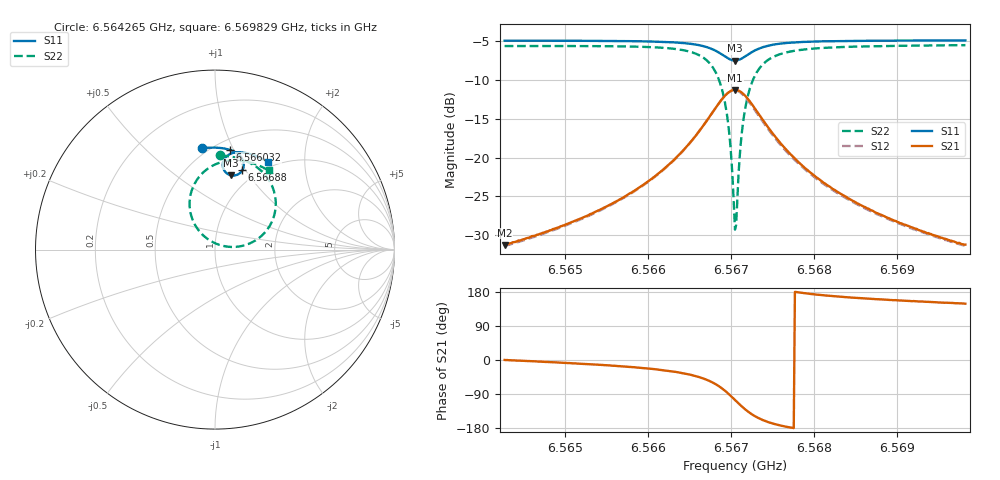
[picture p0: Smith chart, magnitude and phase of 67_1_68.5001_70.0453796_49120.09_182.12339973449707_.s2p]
#  HZ  S  RI  R  50.00
! Rohde & Schwarz Vector Network Analyzer
! Rohde-Schwarz,ZNB20-2Port,1311601062101988,3.16
! Created: UTC 3/20/2024, 5:06:44 PM
! freq[Hz]  re:S11  im:S11  re:S21  im:S21  re:S12  im:S12  re:S22  im:S22
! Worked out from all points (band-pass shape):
!   401 points, 6.564265 GHz to 6.569829 GHz, reference 50 ohm
!   highest |S21| = -11.24 dB at 6.567047 GHz (marker M1); lowest = -31.3 dB at 6.564265 GHz (marker M2)
!   |S21| within 3 dB of the highest: 6.56677 GHz to 6.567326 GHz (556.1 kHz wide, 0.00847 % of centre)
!   lowest |S11| = -7.5 dB at 6.567047 GHz (marker M3), VSWR 2.47, Z = 41 + j41.4 ohm
!   |S11| at or under -10 dB: nowhere
!   |S22| runs from -29.3 to -5.5 dB; largest |S21 - S12| = 0.013
!   S11 on the Smith chart (normalised r, x): 6.564265 GHz: 0.46, +0.77; 6.566032 GHz: 0.59, +0.97; 6.56688 GHz: 0.86, +0.97; 6.569829 GHz: 0.92, +1.33
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6.5642654e9  -0.0698 0.5647  0.0273 1.89e-06  0.0268 -0.00041  0.0295 0.5244
6.5651973e9  0.00603 0.5678  0.0402 -0.00721  0.0395 -0.00765  0.1167 0.5122
6.5660318e9  0.0829 0.5558  0.0667 -0.0285  0.0656 -0.0293  0.2219 0.467
6.5661292e9  0.0931 0.5523  0.0718 -0.0343  0.0706 -0.0351  0.2379 0.4555
6.5664351e9  0.1277 0.5335  0.0925 -0.0658  0.0909 -0.067  0.2965 0.3933
6.5666577e9  0.1531 0.503  0.106 -0.1188  0.1036 -0.121  0.336 0.2912
6.5667828e9  0.1602 0.4725  0.0991 -0.172  0.0949 -0.1751  0.3295 0.1894
6.5668802e9  0.1519 0.4417  0.0674 -0.2249  0.0601 -0.2278  0.2733 0.0903
6.5669637e9  0.1272 0.4186  0.00849 -0.2622  -0.00215 -0.2622  0.1654 0.0241
6.5669915e9  0.1153 0.4142  -0.0178 -0.268  -0.0288 -0.2664  0.1186 0.0155
6.5670332e9  0.0959 0.4127  -0.0591 -0.2672  -0.0706 -0.2627  0.0446 0.0207
6.5670471e9  0.0894 0.4137  -0.0731 -0.2641  -0.0841 -0.2585  0.0206 0.0275
6.567061e9  0.083 0.4155  -0.0867 -0.2596  -0.0972 -0.2532  -0.00255 0.0368
6.5670749e9  0.0768 0.4179  -0.0995 -0.2541  -0.1096 -0.2465  -0.0245 0.0481
6.5671166e9  0.061 0.4289  -0.1331 -0.2303  -0.1411 -0.2208  -0.0802 0.0938
6.5671584e9  0.05 0.4437  -0.1573 -0.2005  -0.1625 -0.1898  -0.1176 0.1495
6.567214e9  0.0435 0.4648  -0.1742 -0.1584  -0.1762 -0.1479  -0.1398 0.225
6.5672836e9  0.0457 0.4887  -0.1769 -0.1119  -0.1761 -0.1029  -0.1361 0.3062
6.5675339e9  0.0842 0.5325  -0.134 -0.0249  -0.1311 -0.0209  -0.0389 0.4518
6.567979e9  0.1448 0.5423  -0.0781 0.0083  -0.0762 0.00948  0.0897 0.4971
6.5689108e9  0.2306 0.5206  -0.0378 0.0148  -0.0369 0.015  0.2194 0.4783
6.5698288e9  0.2975 0.4872  -0.0235 0.0143  -0.0229 0.0143  0.2983 0.4411
